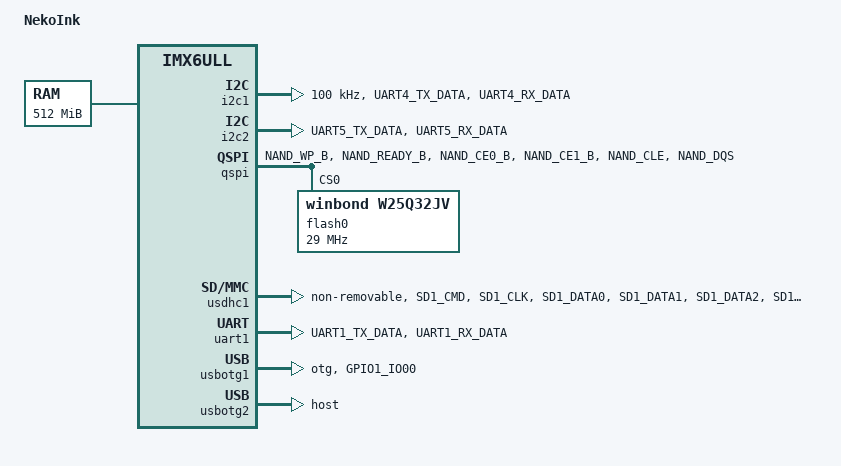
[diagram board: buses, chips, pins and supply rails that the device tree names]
// SPDX-License-Identifier: GPL-2.0+
/*
 * Copyright (C) 2016 Freescale Semiconductor, Inc.
 * Copyright (C) 2021 Wenting Zhang <wenting@modos.tech>
 */

/dts-v1/;

#include <dt-bindings/input/input.h>
#include "imx6ull.dtsi"

/ {
	model = "NekoInk";
	compatible = "modos,nekoink", "fsl,imx6ull";

	chosen {
		stdout-path = &uart1;
	};

	memory {
		reg = <0x80000000 0x20000000>;
	};
};

&cpu0 {
	arm-supply = <&reg_arm>;
	soc-supply = <&reg_soc>;
};

&gpc {
	fsl,cpu_pupscr_sw2iso = <0x1>;
	fsl,cpu_pupscr_sw = <0x0>;
	fsl,cpu_pdnscr_iso2sw = <0x1>;
	fsl,cpu_pdnscr_iso = <0x1>;
	fsl,ldo-bypass = <0>; /* DCDC, ldo-enable */
};

&i2c1 {
	clock-frequency = <100000>;
	pinctrl-names = "default";
	pinctrl-0 = <&pinctrl_i2c1>;
	status = "okay";
};

&i2c2 {
	clock_frequency = <100000>;
	pinctrl-names = "default";
	pinctrl-0 = <&pinctrl_i2c2>;
	status = "okay";
};

&iomuxc {
	pinctrl-names = "default";

	pinctrl_i2c1: i2c1grp {
		fsl,pins = <
			MX6UL_PAD_UART4_TX_DATA__I2C1_SCL	0x4001b8b0
			MX6UL_PAD_UART4_RX_DATA__I2C1_SDA	0x4001b8b0
		>;
	};

	pinctrl_i2c2: i2c2grp {
		fsl,pins = <
			MX6UL_PAD_UART5_TX_DATA__I2C2_SCL	0x4001b8b0
			MX6UL_PAD_UART5_RX_DATA__I2C2_SDA	0x4001b8b0
		>;
	};

	pinctrl_uart1: uart1grp {
		fsl,pins = <
			MX6UL_PAD_UART1_TX_DATA__UART1_DCE_TX	0x1b0b1
			MX6UL_PAD_UART1_RX_DATA__UART1_DCE_RX	0x1b0b1
		>;
	};

	pinctrl_usdhc1: usdhc1grp {
		fsl,pins = <
			MX6UL_PAD_SD1_CMD__USDHC1_CMD     	0x17059
			MX6UL_PAD_SD1_CLK__USDHC1_CLK		0x10071
			MX6UL_PAD_SD1_DATA0__USDHC1_DATA0 	0x17059
			MX6UL_PAD_SD1_DATA1__USDHC1_DATA1 	0x17059
			MX6UL_PAD_SD1_DATA2__USDHC1_DATA2 	0x17059
			MX6UL_PAD_SD1_DATA3__USDHC1_DATA3 	0x17059
		>;
	};

	pinctrl_usdhc1_100mhz: usdhc1grp100mhz {
		fsl,pins = <
			MX6UL_PAD_SD1_CMD__USDHC1_CMD     0x170b9
			MX6UL_PAD_SD1_CLK__USDHC1_CLK     0x100b9
			MX6UL_PAD_SD1_DATA0__USDHC1_DATA0 0x170b9
			MX6UL_PAD_SD1_DATA1__USDHC1_DATA1 0x170b9
			MX6UL_PAD_SD1_DATA2__USDHC1_DATA2 0x170b9
			MX6UL_PAD_SD1_DATA3__USDHC1_DATA3 0x170b9

		>;
	};

	pinctrl_usdhc1_200mhz: usdhc1grp200mhz {
		fsl,pins = <
			MX6UL_PAD_SD1_CMD__USDHC1_CMD     0x170f9
			MX6UL_PAD_SD1_CLK__USDHC1_CLK     0x100f9
			MX6UL_PAD_SD1_DATA0__USDHC1_DATA0 0x170f9
			MX6UL_PAD_SD1_DATA1__USDHC1_DATA1 0x170f9
			MX6UL_PAD_SD1_DATA2__USDHC1_DATA2 0x170f9
			MX6UL_PAD_SD1_DATA3__USDHC1_DATA3 0x170f9
		>;
	};

	pinctrl_qspi: qspigrp {
		fsl,pins = <
			MX6UL_PAD_NAND_WP_B__QSPI_A_SCLK	0x70a1
			MX6UL_PAD_NAND_READY_B__QSPI_A_DATA00	0x70a1
			MX6UL_PAD_NAND_CE0_B__QSPI_A_DATA01	0x70a1
			MX6UL_PAD_NAND_CE1_B__QSPI_A_DATA02	0x70a1
			MX6UL_PAD_NAND_CLE__QSPI_A_DATA03	0x70a1
			MX6UL_PAD_NAND_DQS__QSPI_A_SS0_B	0x70a1
		>;
	};
	
	pinctrl_usb_otg1: usbotg1grp {
		fsl,pins = <
			MX6UL_PAD_GPIO1_IO00__ANATOP_OTG1_ID	0x17059
		>;
	};
};

&qspi {
	pinctrl-names = "default";
	pinctrl-0 = <&pinctrl_qspi>;
	status = "okay";

	flash0: w25q32@0 {
		#address-cells = <1>;
		#size-cells = <1>;
		compatible = "winbond,w25q32jv", "jedec,spi-nor";
		spi-max-frequency = <29000000>;
		reg = <0>;
	};
};

&usdhc1 {
	pinctrl-names = "default", "state_100mhz", "state_200mhz";
	pinctrl-0 = <&pinctrl_usdhc1>;
	pinctrl-1 = <&pinctrl_usdhc1_100mhz>;
	pinctrl-2 = <&pinctrl_usdhc1_200mhz>;
	non-removable;
	keep-power-in-suspend;
	wakeup-source;
	status = "okay";
};

&uart1 {
	pinctrl-names = "default";
	pinctrl-0 = <&pinctrl_uart1>;
	status = "okay";
};

&usbotg1 {
	dr_mode = "otg";
	pinctrl-names = "default";
	pinctrl-0 = <&pinctrl_usb_otg1>;
	status = "okay";
};

&usbotg2 {
	dr_mode = "host";
	disable-over-current;
	status = "okay";
};

&usbphy1 {
	fsl,tx-d-cal = <106>;
};

&usbphy2 {
	fsl,tx-d-cal = <106>;
};
